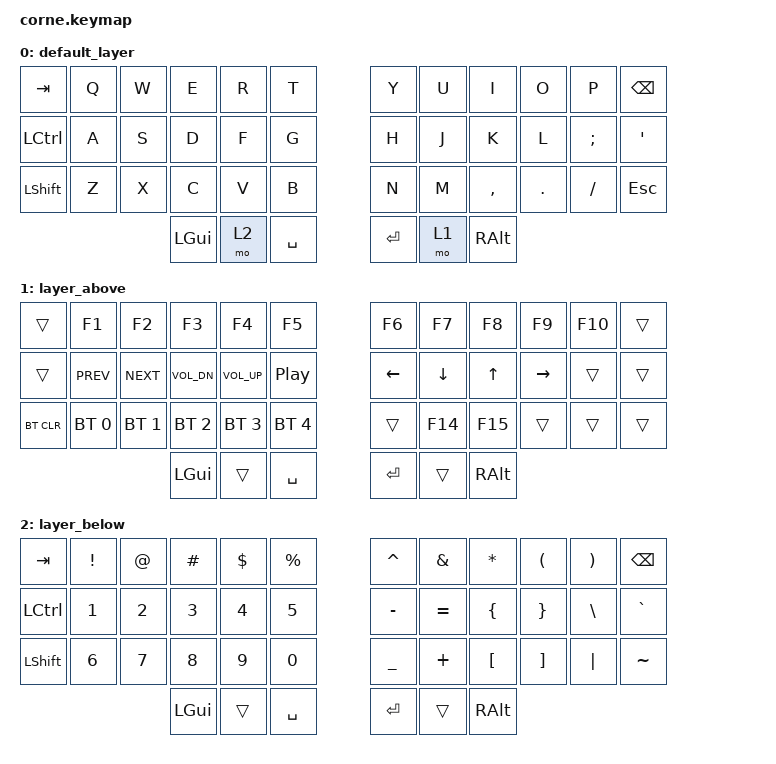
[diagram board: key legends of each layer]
/*
 * Copyright (c) 2020 The ZMK Contributors
 *
 * SPDX-License-Identifier: MIT
 */

#include <behaviors.dtsi>
#include <dt-bindings/zmk/bt.h>
#include <dt-bindings/zmk/keys.h>

/ {
    keymap {
        compatible = "zmk,keymap";

        default_layer {
            // -----------------------------------------------------------------------------------------
            // |  TAB |  Q  |  W  |  E  |  R  |  T  |   |  Y  |  U   |  I  |  O  |  P  | BSPC |
            // | CTRL |  A  |  S  |  D  |  F  |  G  |   |  H  |  J   |  K  |  L  |  ;  |  '   |
            // | SHFT |  Z  |  X  |  C  |  V  |  B  |   |  N  |  M   |  ,  |  .  |  /  | ESC  |
            //                    | GUI | LWR | SPC |   | ENT | RSE  | ALT |

            bindings = <
&kp TAB    &kp Q  &kp W  &kp E     &kp R  &kp T        &kp Y    &kp U  &kp I      &kp O    &kp P     &kp BSPC
&kp LCTRL  &kp A  &kp S  &kp D     &kp F  &kp G        &kp H    &kp J  &kp K      &kp L    &kp SEMI  &kp SQT
&kp LSHFT  &kp Z  &kp X  &kp C     &kp V  &kp B        &kp N    &kp M  &kp COMMA  &kp DOT  &kp FSLH  &kp ESC
                         &kp LGUI  &mo 2  &kp SPACE    &kp RET  &mo 1  &kp RALT
            >;
        };

        layer_above {
            // -----------------------------------------------------------------------------------------
            // |  TAB |  1  |  2  |  3  |  4  |  5  |   |  6  |  7  |  8  |  9  |  0  | BSPC |
            // | BTCLR| BT1 | BT2 | BT3 | BT4 | BT5 |   | LFT | DWN |  UP | RGT |     |      |
            // | SHFT |     |     |     |     |     |   |     |     |     |     |     |      |
            //                    | GUI |     | SPC |   | ENT |     | ALT |

            bindings = <
&trans      &kp F1        &kp F2        &kp F3        &kp F4        &kp F5          &kp F6    &kp F7    &kp F8    &kp F9     &kp F10  &trans
&trans      &kp C_PREV    &kp C_NEXT    &kp C_VOL_DN  &kp C_VOL_UP  &kp C_PP        &kp LEFT  &kp DOWN  &kp UP    &kp RIGHT  &trans   &trans
&bt BT_CLR  &bt BT_SEL 0  &bt BT_SEL 1  &bt BT_SEL 2  &bt BT_SEL 3  &bt BT_SEL 4    &trans    &kp F14   &kp F15   &trans     &trans   &trans
                                        &kp LGUI      &trans        &kp SPACE       &kp RET   &trans    &kp RALT
            >;
        };

        layer_below {
            // -----------------------------------------------------------------------------------------
            // |  TAB |  !  |  @  |  #  |  $  |  %  |   |  ^  |  &  |  *  |  (  |  )  | BSPC |
            // | CTRL |     |     |     |     |     |   |  -  |  =  |  [  |  ]  |  \  |  `   |
            // | SHFT |     |     |     |     |     |   |  _  |  +  |  {  |  }  | "|" |  ~   |
            //                    | GUI |     | SPC |   | ENT |     | ALT |

            bindings = <
&kp TAB    &kp EXCL  &kp AT  &kp HASH  &kp DLLR  &kp PRCNT    &kp CARET  &kp AMPS   &kp ASTRK         &kp LPAR           &kp RPAR  &kp BSPC
&kp LCTRL  &kp N1    &kp N2  &kp N3    &kp N4    &kp N5       &kp MINUS  &kp EQUAL  &kp LEFT_BRACE    &kp RIGHT_BRACE    &kp BSLH  &kp GRAVE
&kp LSHFT  &kp N6    &kp N7  &kp N8    &kp N9    &kp N0       &kp UNDER  &kp PLUS   &kp LEFT_BRACKET  &kp RIGHT_BRACKET  &kp PIPE  &kp TILDE
                             &kp LGUI  &trans    &kp SPACE    &kp RET    &trans     &kp RALT
            >;
        };
    };
};
